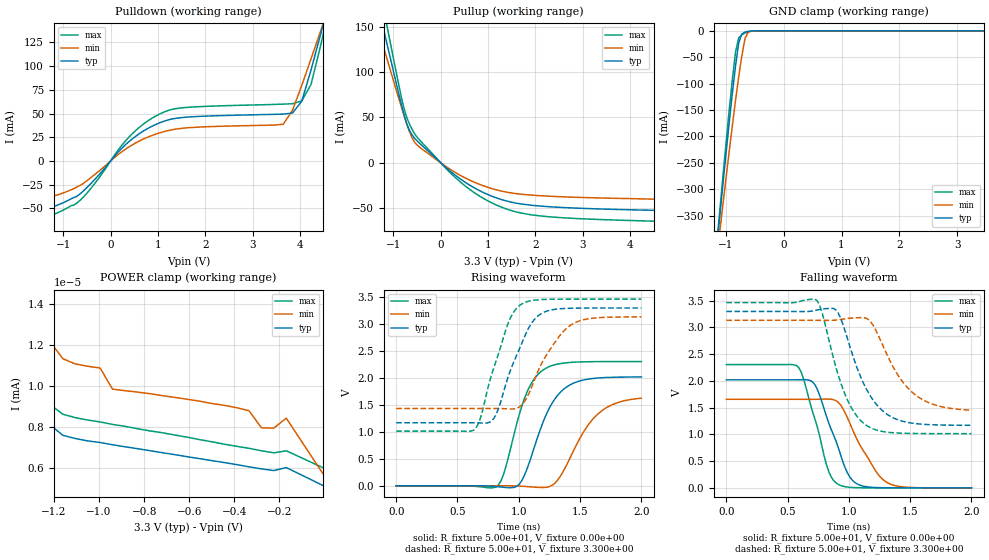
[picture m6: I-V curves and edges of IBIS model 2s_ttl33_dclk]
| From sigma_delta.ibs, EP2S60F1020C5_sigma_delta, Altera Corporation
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[Model] 2s_ttl33_dclk
Model_type I/O
Vinl  = 0.8
Vinh  = 1.7
Vmeas = 1.5675
Rref  = 1M
Cref  = 0pF
Vref  = 0
C_comp  3.00pF  NA  NA
[Temperature Range]  25.000   85.000   0.000
[Voltage Range]   3.300   3.135   3.465
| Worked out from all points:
|   slope of the pulldown table from 0 to 0.495 V, typ, clamps not added: 20 ohm
|   slope of the pullup table from 0 to 0.495 V, typ, clamps not added: 23.9 ohm
|   GND clamp passes 1 mA (typ) near -0.62 V on its own axis
|   rising waveform, R_fixture 5.00e+01, V_fixture 0.00e+00: 20-80 % time 214ps typ, 255ps min, 182ps max; typ from 0 V to 2.02 V
|   falling waveform, R_fixture 5.00e+01, V_fixture 0.00e+00: 20-80 % time 186ps typ, 229ps min, 160ps max; typ from 2.02 V to 0 V
|   rising waveform, R_fixture 5.00e+01, V_fixture 3.300e+00: 20-80 % time 211ps typ, 243ps min, 191ps max; typ from 1.17 V to 3.3 V
|   falling waveform, R_fixture 5.00e+01, V_fixture 3.300e+00: 20-80 % time 235ps typ, 266ps min, 204ps max; typ from 3.3 V to 1.17 V
[GND_Clamp]
| voltage   I(typ)   I(min)   I(max)
-3.3V     -2.907A    -2.551A    -3.109A
-1.16V    -416.6mA   -435.9mA   -412.4mA
-1.105V   -355mA     -383.5mA   -345.6mA
-1.05V    -294mA     -331.6mA   -279.5mA
-940mV    -175.2mA   -229.6mA   -151.6mA
-830mV    -67.05mA   -132.2mA   -40.56mA
-775mV    -22.77mA   -87.29mA   -13.36mA
-720mV    -6.04mA    -47.16mA   -7.238mA
-665mV    -2.278mA   -13.9mA    -4.022mA
-610mV    -835.8uA   -2.708mA   -1.836mA
-500mV    -67.54uA   -125.9uA   -161.4uA
3.455V    6.482nA    8.847nA    5.533nA
[Pulldown]
| voltage   I(typ)   I(min)   I(max)
-3.3V     -58mA      -47mA      -66mA
-2.13V    -58mA      -45mA      -68mA
-775mV    -38.52mA   -29.11mA   -46.5mA
435mV     22.37mA    16.26mA    27.58mA
1.205V    43.13mA    31.92mA    53.09mA
3.65V     49.48mA    38.77mA    59.97mA
3.845V    50.54mA    53.52mA    60.39mA
4.04V     63mA       79.61mA    63.34mA
4.235V    95.76mA    107.6mA    80.49mA
4.43V     131.9mA    135.7mA    119.8mA
4.625V    167.9mA    163.9mA    163mA
6.6V      526.8mA    458.8mA    583mA
[POWER_Clamp]
|voltage   I(typ)   I(min)   I(max)
-3.3V     144.2uA    77.94uA    202.6uA
-1.325V   16.39nA    21.4nA     18.62nA
-1.27V    9.913nA    14.61nA    11.02nA
-1.215V   8.064nA    12.11nA    9.06nA
-1.16V    7.573nA    11.31nA    8.598nA
-995mV    7.22nA     10.86nA    8.226nA
-940mV    7.112nA    9.827nA    8.102nA
-335mV    6.034nA    8.772nA    6.936nA
-280mV    5.934nA    7.936nA    6.817nA
-225mV    5.852nA    7.923nA    6.717nA
-170mV    5.998nA    8.409nA    6.815nA
-5mV      5.111nA    5.655nA    5.98nA
[Pullup]
| voltage   I(typ)   I(min)   I(max)
-3.3V     568.2mA    469.4mA    656.7mA
-1.325V   172.8mA    147.8mA    199.5mA
-1.215V   148.7mA    128.6mA    171.3mA
-1.16V    136.6mA    118.9mA    157.1mA
-1.105V   124.4mA    109.3mA    142.8mA
-775mV    53.02mA    52.12mA    59.92mA
-665mV    36.09mA    35.02mA    43.2mA
-555mV    27.25mA    22.8mA     32.28mA
380mV     -16.51mA   -12.83mA   -19.57mA
1.205V    -39.19mA   -30.2mA    -47.21mA
2.285V    -48.42mA   -36.82mA   -59.5mA
6.6V      -57mA      -43mA      -69mA
[Rising Waveform]
R_fixture = 5.00e+01
V_fixture = 0.00e+00
V_fixture_min = 0.00e+00
V_fixture_max = 0.00e+00
|Time   Typ(v)   Min(v)   Max(v)
0s        0V         0V         0V
817ps     -14.58mV   -32.97uV   -17.56mV
874ps     -27.46mV   484.2uV    200.9mV
1.026ns   101.6mV    -8.708mV   1.488V
1.121ns   674.6mV    -23.71mV   1.966V
1.254ns   1.461V     -11.29mV   2.216V
1.406ns   1.857V     459.9mV    2.286V
1.626ns   1.996V     1.29V      2.304V
1.776ns   2.014V     1.518V     2.306V
2ns       2.02V      1.626V     2.306V
[Falling Waveform]
R_fixture = 5.00e+01
V_fixture = 0.00e+00
V_fixture_min = 0.00e+00
V_fixture_max = 0.00e+00
|Time   Typ(v)   Min(v)   Max(v)
0s        2.021V     1.657V     2.306V
589ps     2.022V     1.656V     2.254V
722ps     1.932V     1.657V     1.291V
836ps     1.21V      1.661V     301.6mV
912ps     763.3mV    1.602V     66.29mV
988ps     278mV      1.31V      15.18mV
1.045ns   107mV      1.009V     5.162mV
1.216ns   6.067mV    325.2mV    178.5uV
1.311ns   1.235mV    100.2mV    -3.315uV
2ns       -19.19uV   -30.77uV   -10.11uV
[Rising Waveform]
R_fixture = 5.00e+01
V_fixture = 3.300e+00
V_fixture_min = 3.135e+00
V_fixture_max = 3.465e+00
|Time   Typ(v)   Min(v)   Max(v)
0s        1.17V      1.434V     1.014V
646ps     1.169V     1.434V     1.06V
684ps     1.167V     1.434V     1.234V
798ps     1.254V     1.434V     2.204V
931ps     2.138V     1.425V     3.114V
1.026ns   2.654V     1.504V     3.376V
1.159ns   3.157V     2.14V      3.452V
1.406ns   3.294V     2.953V     3.464V
1.576ns   3.299V     3.102V     3.464V
2ns       3.299V     3.134V     3.464V
[Falling Waveform]
R_fixture = 5.00e+01
V_fixture = 3.300e+00
V_fixture_min = 3.135e+00
V_fixture_max = 3.465e+00
|Time   Typ(v)   Min(v)   Max(v)
0s        3.3V       3.135V     3.465V
741ps     3.327V     3.134V     3.5V
779ps     3.344V     3.133V     3.293V
912ps     3.274V     3.143V     2.116V
1.026ns   2.515V     3.176V     1.475V
1.14ns    1.859V     3.174V     1.173V
1.311ns   1.377V     2.49V      1.042V
1.526ns   1.207V     1.769V     1.017V
1.726ns   1.177V     1.535V     1.015V
2ns       1.17V      1.452V     1.014V
[Ramp]
dV/dt_r 1.249e+000/2.280e-010 9.699e-001/2.640e-010 1.400e+000/1.900e-010
dV/dt_f 1.292e+000/2.280e-010 1.055e+000/2.660e-010 1.580e+000/2.090e-010
